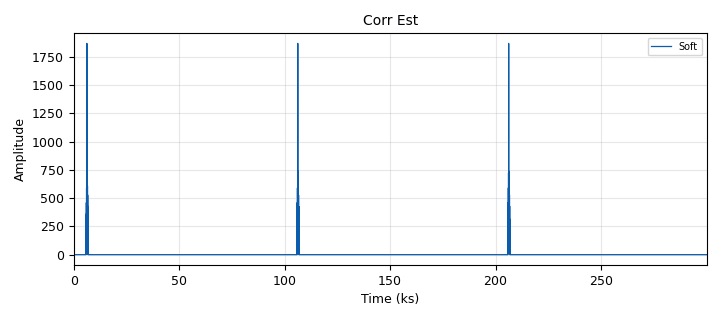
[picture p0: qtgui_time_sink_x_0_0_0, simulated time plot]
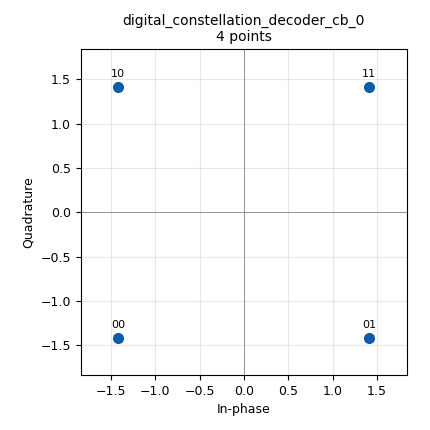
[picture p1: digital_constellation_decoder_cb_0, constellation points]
options:
  parameters:
    author: Perspecta Labs, Inc.
    generate_options: qt_gui
    id: ctf_hint_5
    output_language: python
    title: BF CTF Hint 5
  states: {}

blocks:
- name: M
  id: variable
  parameters:
    value: '4'
  states: {}
- name: angle1
  id: variable
  parameters:
    value: '40'
  states: {}
- name: angle2
  id: variable
  parameters:
    value: '80'
  states: {}
- name: angle3
  id: variable
  parameters:
    value: '15'
  states: {}
- name: constel
  id: variable_constellation
  parameters:
    const_points: '[1,-1]'
    precision: '8'
    rot_sym: '2'
    sym_map: '[0,1]'
    type: qpsk
  states: {}
- name: corr_thresh
  id: variable_qtgui_range
  parameters:
    label: Correlation Threshold
    orient: Qt.Horizontal
    start: '0.01'
    step: '.01'
    stop: '1.0'
    value: '.2'
  states: {}
- name: data
  id: variable
  parameters:
    value: datavecs[1]
  states: {}
- name: datavecs
  id: variable
  parameters:
    value: '[list(bytearray(flags[0],''UTF-8'')),list(bytearray(flags[1],''UTF-8''))]'
  states: {}
- name: eb
  id: variable
  parameters:
    value: '.35'
  states: {}
- name: flags
  id: variable
  parameters:
    value: '['':not_the_flag'','':not_the_flag'']'
  states: {}
- name: gap
  id: variable
  parameters:
    comment: 1 second gap
    value: samp_rate*sps
  states: {}
- name: modulated_sync_word
  id: variable
  parameters:
    value: modulated_sync_word_pre[modulator_transient_delay:(512+modulator_transient_delay)]
  states: {}
- name: modulated_sync_word_pre
  id: variable_modulate_vector
  parameters:
    data: preamble+preamble
    mod: rxmod
    taps: '[1]'
  states: {}
- name: modulator_transient_delay
  id: variable
  parameters:
    value: '89'
  states: {}
- name: nfilts
  id: variable
  parameters:
    value: '32'
  states: {}
- name: preamble
  id: variable
  parameters:
    value: text_preambles[1]
  states: {}
- name: preamble
  id: variable
  parameters:
    value: list(bytearray('PLABS_WCTF_ABCDEFGHIJKLMNOP01234','UTF-8'))
  states: {state: disabled}
- name: rrc_taps
  id: variable
  parameters:
    value: firdes.root_raised_cosine(nfilts, nfilts, 1.0/float(sps), eb, 5*sps*nfilts)
  states: {}
- name: rxmod
  id: variable
  parameters:
    value: digital.generic_mod(constel, False, sps, True, eb, False, False)
  states: {}
- name: samp_rate
  id: variable
  parameters:
    value: '25000'
  states: {}
- name: sps
  id: variable
  parameters:
    value: '4'
  states: {}
- name: symbols_per_byte
  id: variable
  parameters:
    value: '4'
  states: {}
- name: tag_delay
  id: variable_qtgui_range
  parameters:
    label: Tag Delay
    orient: Qt.Horizontal
    rangeType: int
    start: '0'
    step: '1'
    stop: '100'
    value: '1'
    widget: slider
  states: {}
- name: text_preambles
  id: variable
  parameters:
    value: '[list(bytearray(''PERSPECTA_LABS_WCTF_GRCON2019'',''UTF-8'')),list(bytearray(''first_to_solve_gets_the_prize'',''UTF-8''))]'
  states: {}
- name: bfutils_pdu_pfb_clock_sync_0_0
  id: bfutils_pdu_pfb_clock_sync
  parameters:
    filter_size: '32'
    init_phase: '16'
    loop_bw: 6.28/100.0
    max_dev: '1.5'
    osps: '1'
    sps: sps
    taps: rrc_taps
  states: {}
- name: bfutils_preamble_to_pdu_0_0_0
  id: bfutils_preamble_to_pdu
  parameters:
    corr_tag: '"corr_est"'
    data_length: len(modulated_sync_word)+500
    num_elements: '1'
  states: {}
- name: blocks_complex_to_mag_0
  id: blocks_complex_to_mag
  parameters:
    vlen: len(modulated_sync_word_pre)
  states: {state: disabled}
- name: blocks_complex_to_mag_1_0
  id: blocks_complex_to_mag
  parameters: {}
  states: {}
- name: blocks_null_source_0_0
  id: blocks_null_source
  parameters:
    type: complex
  states: {}
- name: blocks_pdu_to_tagged_stream_0_0
  id: blocks_pdu_to_tagged_stream
  parameters:
    tag: packet_len
    type: complex
  states: {}
- name: blocks_repack_bits_bb_0_0
  id: blocks_repack_bits_bb
  parameters:
    endianness: gr.GR_MSB_FIRST
    k: '1'
    l: '8'
  states: {}
- name: blocks_skiphead_0
  id: blocks_skiphead
  parameters:
    num_items: modulator_transient_delay
    type: complex
  states: {}
- name: blocks_stream_mux_0_0
  id: blocks_stream_mux
  parameters:
    lengths: ((len(preamble)+len(data))*symbols_per_byte*sps, gap-(len(preamble)+len(data))*symbols_per_byte*sps)
    type: complex
  states: {}
- name: blocks_tagged_stream_to_pdu_1
  id: blocks_tagged_stream_to_pdu
  parameters:
    tag: packet_len
    type: byte
  states: {}
- name: blocks_tagged_stream_to_pdu_1_0
  id: blocks_tagged_stream_to_pdu
  parameters:
    tag: packet_len
    type: byte
  states: {state: disabled}
- name: blocks_throttle_0
  id: blocks_throttle
  parameters:
    samples_per_second: samp_rate*sps
    type: complex
  states: {}
- name: blocks_uchar_to_float_0
  id: blocks_uchar_to_float
  parameters: {}
  states: {}
- name: blocks_unpack_k_bits_bb_0
  id: blocks_unpack_k_bits_bb
  parameters:
    k: constel.bits_per_symbol()
  states: {}
- name: blocks_vector_source_x_0
  id: blocks_vector_source_x
  parameters:
    comment: |-
      Use this snippet of the flowgraph
      to preview what the modulated
      sync word looks like

      The modulator delays the start of it
    repeat: 'True'
    type: complex
    vector: modulated_sync_word_pre
    vlen: len(modulated_sync_word_pre)
  states: {state: disabled}
- name: blocks_vector_source_x_0_0
  id: blocks_vector_source_x
  parameters:
    repeat: 'True'
    type: byte
    vector: preamble+data
  states: {}
- name: digital_constellation_decoder_cb_0
  id: digital_constellation_decoder_cb
  parameters:
    comment: Outputs symbols 0,1,2,3
    constellation: constel
  states: {}
- name: digital_constellation_modulator_0
  id: digital_constellation_modulator
  parameters:
    constellation: constel
    differential: 'False'
    excess_bw: eb
    samples_per_symbol: sps
  states: {}
- name: digital_corr_est_cc_0_0
  id: digital_corr_est_cc
  parameters:
    mark_delay: tag_delay
    sps: sps
    symbols: modulated_sync_word
    threshold: corr_thresh
    threshold_method: digital.THRESHOLD_ABSOLUTE
  states: {}
- name: epy_block_1_0
  id: epy_block
  parameters:
    _source_code: "\"\"\"\nEmbedded Python Blocks:\n\nEach time this file is saved, GRC will instantiate the first class it finds\nto get ports and parameters of your block. The arguments to __init__  will\nbe the parameters. All of them are required to have default values!\n\"\"\"\n\nimport numpy as np\nfrom gnuradio import gr\nimport pmt\n\n\nclass blk(gr.basic_block):  # other base classes are basic_block, decim_block, interp_block\n    \"\"\"Embedded Python Block example - a simple multiply const\"\"\"\n\n    def __init__(self):  # only default arguments here\n        \"\"\"arguments to this function show up as parameters in GRC\"\"\"\n        gr.basic_block.__init__(\n            self,\n            name='ASCII from PDU',   # will show up in GRC\n            in_sig=None,\n            out_sig=None\n        )\n        # if an attribute with the same name as a parameter is found,\n        # a callback is registered (properties work, too).\n        self.message_port_register_in(pmt.intern(\"pdu\"))\n        self.set_msg_handler(pmt.intern(\"pdu\"), self.handler)\n\n    \n    def handler(self, msg):\n        data = pmt.cdr(msg)\n        x = np.asarray(pmt.u8vector_elements(data),dtype=np.uint8)\n        # print(dibits)\n        # print(\"got {} symbols\".format(len(dibits)))\n        # x = np.array(dibits_to_bytes(dibits[((len(self.dibits)+self.offset)):]))\n        # x = np.array(dibits_to_bytes(dibits[self.offset:]),dtype=np.uint8)\n        # print(x)\n        print(\"got {} bytes\".format(len(x)))\n        # np.set_printoptions(formatter={'int':hex})\n        #print(x) \n\n        x[np.where(x>127)] = 32  # replace invalid ascii with space\n\n        s = x.astype(np.uint8).tostring().decode(\"UTF-8\")\n        print(s)\n        \n\n"
  states: {}
- name: epy_block_1_0_0
  id: epy_block
  parameters:
    _source_code: "\"\"\"\nEmbedded Python Blocks:\n\nEach time this file is saved, GRC will instantiate the first class it finds\nto get ports and parameters of your block. The arguments to __init__  will\nbe the parameters. All of them are required to have default values!\n\"\"\"\n\nimport numpy as np\nfrom gnuradio import gr\nimport pmt\n\n\nclass blk(gr.basic_block):  # other base classes are basic_block, decim_block, interp_block\n    \"\"\"Embedded Python Block example - a simple multiply const\"\"\"\n\n    def __init__(self):  # only default arguments here\n        \"\"\"arguments to this function show up as parameters in GRC\"\"\"\n        gr.basic_block.__init__(\n            self,\n            name='print symbols',   # will show up in GRC\n            in_sig=None,\n            out_sig=None\n        )\n        # if an attribute with the same name as a parameter is found,\n        # a callback is registered (properties work, too).\n        self.message_port_register_in(pmt.intern(\"pdu\"))\n        self.set_msg_handler(pmt.intern(\"pdu\"), self.handler)\n\n    \n    def handler(self, msg):\n        data = pmt.cdr(msg)\n        x = np.asarray(pmt.u8vector_elements(data),dtype=np.uint8)\n        print(x)\n        \n\n"
  states: {state: disabled}
- name: import_0
  id: import
  parameters:
    imports: import numpy
  states: {}
- name: import_0_0
  id: import
  parameters:
    imports: import scipy
  states: {}
- name: import_1
  id: import
  parameters:
    imports: import cmath
  states: {}
- name: note_0
  id: note
  parameters:
    comment: |-
      This part of the flowgraph
      is just to calculate the 
      modulator transient delay
  states: {}
- name: qtgui_const_sink_x_0_0
  id: qtgui_const_sink_x
  parameters:
    size: '100'
    type: msg_complex
  states: {}
- name: qtgui_time_sink_x_0_0_0
  id: qtgui_time_sink_x
  parameters:
    autoscale: 'True'
    label1: Soft
    name: Corr Est
    size: samp_rate*3*sps
    srate: '1'
    type: float
    update_time: '0.05'
    ymax: '2'
  states: {}
- name: qtgui_time_sink_x_0_0_0_0_0
  id: qtgui_time_sink_x
  parameters:
    label1: Soft
    label2: Hard
    name: Recovered
    srate: '1'
    type: msg_complex
    update_time: '0.05'
    ymax: '2'
  states: {}
- name: qtgui_time_sink_x_0_0_0_0_0_0_0
  id: qtgui_time_sink_x
  parameters:
    autoscale: 'True'
    label1: Soft
    name: Symbols
    size: '1024'
    srate: '1'
    type: float
    update_time: '0.05'
    ymax: '2'
  states: {}
- name: qtgui_vector_sink_f_0
  id: qtgui_vector_sink_f
  parameters:
    autoscale: 'True'
    gui_hint: 11,0,1,1
    name: Modulated Sync Word
    vlen: len(modulated_sync_word_pre)
    x_start: '0'
    x_step: '1.0'
  states: {state: disabled}
- name: virtual_sink_0
  id: virtual_sink
  parameters:
    stream_id: ota
  states: {}
- name: virtual_sink_1
  id: virtual_sink
  parameters:
    stream_id: Decode
  states: {}
- name: virtual_source_0
  id: virtual_source
  parameters:
    stream_id: ota
  states: {}
- name: virtual_source_1
  id: virtual_source
  parameters:
    stream_id: Decode
  states: {}

connections:
- [bfutils_pdu_pfb_clock_sync_0_0, pdu, blocks_pdu_to_tagged_stream_0_0, pdus]
- [bfutils_pdu_pfb_clock_sync_0_0, pdu, qtgui_const_sink_x_0_0, in]
- [bfutils_pdu_pfb_clock_sync_0_0, pdu, qtgui_time_sink_x_0_0_0_0_0, in]
- [bfutils_preamble_to_pdu_0_0_0, pdus, bfutils_pdu_pfb_clock_sync_0_0, pdu]
- [blocks_complex_to_mag_0, '0', qtgui_vector_sink_f_0, '0']
- [blocks_complex_to_mag_1_0, '0', qtgui_time_sink_x_0_0_0, '0']
- [blocks_null_source_0_0, '0', blocks_stream_mux_0_0, '1']
- [blocks_pdu_to_tagged_stream_0_0, '0', virtual_sink_1, '0']
- [blocks_repack_bits_bb_0_0, '0', blocks_tagged_stream_to_pdu_1, '0']
- [blocks_repack_bits_bb_0_0, '0', blocks_uchar_to_float_0, '0']
- [blocks_skiphead_0, '0', blocks_throttle_0, '0']
- [blocks_stream_mux_0_0, '0', virtual_sink_0, '0']
- [blocks_tagged_stream_to_pdu_1, pdus, epy_block_1_0, pdu]
- [blocks_tagged_stream_to_pdu_1_0, pdus, epy_block_1_0_0, pdu]
- [blocks_throttle_0, '0', blocks_stream_mux_0_0, '0']
- [blocks_uchar_to_float_0, '0', qtgui_time_sink_x_0_0_0_0_0_0_0, '0']
- [blocks_unpack_k_bits_bb_0, '0', blocks_repack_bits_bb_0_0, '0']
- [blocks_vector_source_x_0, '0', blocks_complex_to_mag_0, '0']
- [blocks_vector_source_x_0_0, '0', digital_constellation_modulator_0, '0']
- [digital_constellation_decoder_cb_0, '0', blocks_tagged_stream_to_pdu_1_0, '0']
- [digital_constellation_decoder_cb_0, '0', blocks_unpack_k_bits_bb_0, '0']
- [digital_constellation_modulator_0, '0', blocks_skiphead_0, '0']
- [digital_corr_est_cc_0_0, '0', bfutils_preamble_to_pdu_0_0_0, '0']
- [digital_corr_est_cc_0_0, '1', blocks_complex_to_mag_1_0, '0']
- [virtual_source_0, '0', digital_corr_est_cc_0_0, '0']
- [virtual_source_1, '0', digital_constellation_decoder_cb_0, '0']

metadata:
  file_format: 1
